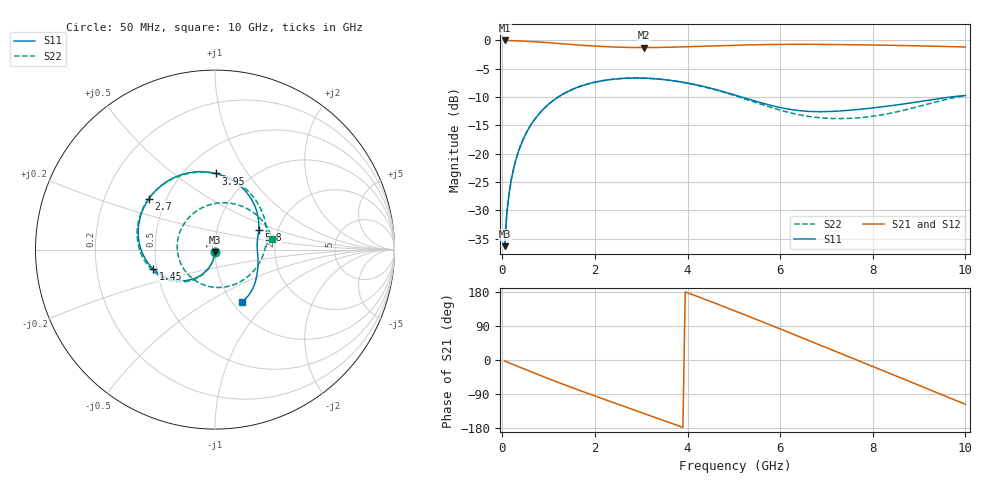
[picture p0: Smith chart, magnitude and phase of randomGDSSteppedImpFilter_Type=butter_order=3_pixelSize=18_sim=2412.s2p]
! freq	dB(S11)	phase(S11)	dB(S12)	phase(S12)
!  dB(S21)	phase(S21)	dB(S22)	phase(S22)
!S-par simulation data
#  GHz  S  DB  R 50
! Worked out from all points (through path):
!   200 points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, 50 MHz to 10 GHz, reference 50 ohm
!   highest |S21| = 0.00 dB at 50 MHz (marker M1); lowest = -1.3 dB at 3.05 GHz (marker M2)
!   group delay of S21, straight-line fit = 131 ps
!   lowest |S11| = -36.3 dB at 50 MHz (marker M3), VSWR 1.03, Z = 49.9 - j1.53 ohm
!   |S11| at or under -10 dB: start of sweep to 1.205 GHz; 5.174 GHz to 9.662 GHz (4.488 GHz wide, 60.5 % of centre)
!   |S22| runs from -36.3 to -6.6 dB; largest |S21 - S12| = 0
!   S11 on the Smith chart (normalised r, x): 50 MHz: 1.00, -0.03; 1.45 GHz: 0.48, -0.12; 2.7 GHz: 0.40, +0.29; 3.95 GHz: 0.70, +0.72; 5.8 GHz: 1.59, +0.38; 10 GHz: 1.11, -0.72
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0.05  -36.30 -92.5  -0.00 -2.6  -0.00 -2.6  -36.30 -92.4
0.1  -30.29 -95.3  -0.01 -5.1  -0.01 -5.1  -30.29 -95.1
0.15  -26.79 -98.0  -0.02 -7.6  -0.02 -7.6  -26.79 -97.7
0.4  -18.44 -111.0  -0.10 -20.1  -0.10 -20.1  -18.44 -110.2
0.8  -12.89 -131.2  -0.28 -39.8  -0.28 -39.8  -12.89 -129.6
1.45  -8.88 -162.3  -0.69 -70.3  -0.69 -70.3  -8.88 -159.6
1.75  -7.92 -176.0  -0.87 -83.9  -0.87 -83.9  -7.91 -172.9
2.7  -6.66 142.3  -1.23 -125.3  -1.23 -125.3  -6.66 146.0
3.05  -6.65 127.3  -1.26 -140.4  -1.26 -140.4  -6.65 130.8
3.4  -6.83 112.4  -1.23 -155.7  -1.23 -155.7  -6.83 115.2
3.95  -7.45 89.4  -1.13 179.7  -1.13 179.7  -7.47 89.5
4.5  -8.44 67.2  -0.98 154.3  -0.98 154.3  -8.49 61.6
5.05  -9.70 47.0  -0.84 128.2  -0.84 128.2  -9.82 30.7
5.8  -11.46 24.6  -0.72 91.8  -0.72 91.8  -11.81 -18.0
6.25  -12.21 14.5  -0.69 69.6  -0.69 69.6  -12.83 -51.1
6.7  -12.55 5.8  -0.69 47.4  -0.69 47.4  -13.50 -86.6
7.15  -12.51 -2.7  -0.72 25.1  -0.72 25.1  -13.78 -123.4
7.55  -12.28 -10.5  -0.75 5.2  -0.75 5.2  -13.73 -156.6
7.95  -11.95 -18.3  -0.80 -14.6  -0.80 -14.6  -13.43 169.8
8.35  -11.56 -26.2  -0.85 -34.5  -0.85 -34.5  -12.90 136.3
9.2  -10.55 -43.2  -0.99 -77.0  -0.99 -77.0  -11.19 67.9
10  -9.72 -62.4  -1.16 -116.9  -1.16 -116.9  -9.76 10.4
